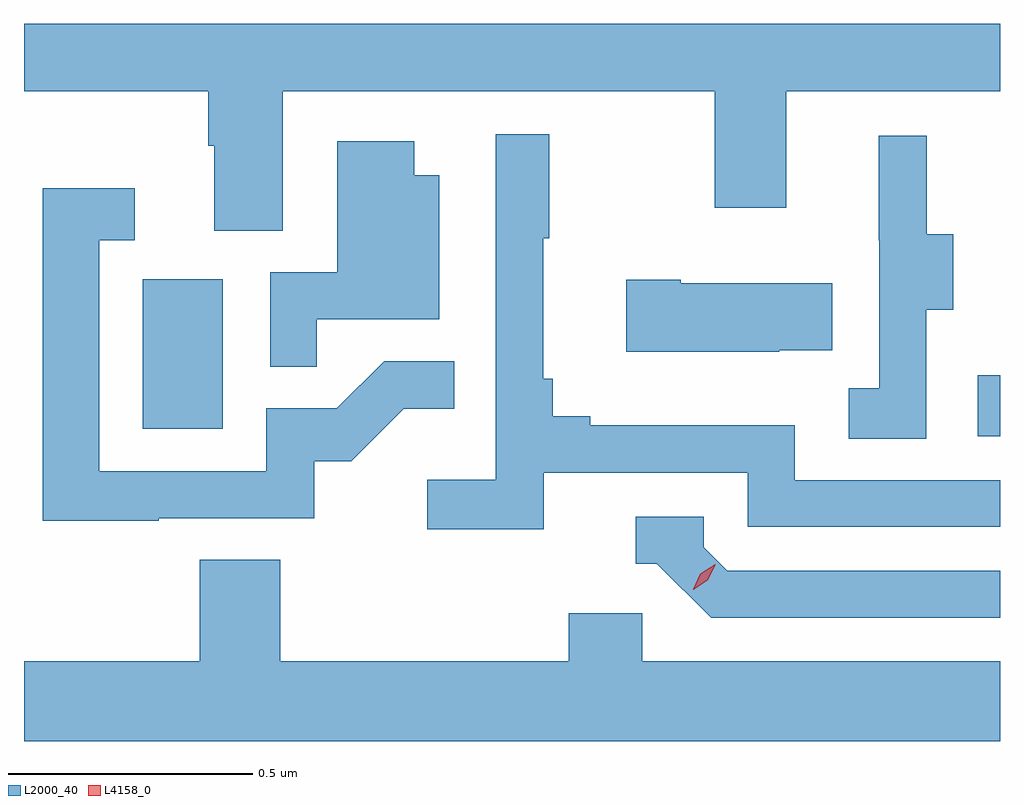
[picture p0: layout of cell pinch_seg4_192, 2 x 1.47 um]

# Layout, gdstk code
import gdstk
lib = gdstk.Library(unit=1e-6, precision=1e-09)
def R(c, l, rs):  # rectangles x0, y0, x1, y1
    for r in rs: c.add(gdstk.rectangle(r[:2], r[2:], *l))
def P(c, l, *ps):  # polygons
    for p in ps: c.add(gdstk.Polygon(p, *l))
L2000_40 = (2000, 40)
L4158_0 = (4158, 0)

pinch_seg4_192 = lib.new_cell('pinch_seg4_192')
R(pinch_seg4_192, L2000_40, [(966.009,826.749,966.055,826.874), (964.298,826.764,964.462,827.071)])
P(pinch_seg4_192, L2000_40, [(964.585,827.456),(965.47,827.456),(965.47,827.217),(965.617,827.217),(965.617,827.456),(966.055,827.456),(966.055,827.594),(964.055,827.594),(964.055,827.456),(964.433,827.456),(964.433,827.344),(964.445,827.344),(964.445,827.17),(964.585,827.17)],
  [(965.12,826.674),(965.538,826.674),(965.538,826.563),(966.055,826.563),(966.055,826.659),(965.634,826.659),(965.634,826.771),(965.215,826.771),(965.215,826.79),(965.138,826.79),(965.138,826.867),(965.119,826.867),(965.119,827.155),(965.131,827.155),(965.131,827.368),(965.022,827.368),(965.022,826.66),(964.881,826.66),(964.881,826.558),(965.12,826.558)],
  [(965.904,827.008),(965.959,827.008),(965.959,827.163),(965.905,827.163),(965.905,827.365),(965.807,827.365),(965.807,827.151),(965.808,827.151),(965.808,826.847),(965.745,826.847),(965.745,826.744),(965.904,826.744)],
  [(964.655,826.989),(964.906,826.989),(964.906,827.284),(964.855,827.284),(964.855,827.353),(964.697,827.353),(964.697,827.085),(964.56,827.085),(964.56,826.891),(964.655,826.891)],
  [(964.331,826.581),(964.65,826.581),(964.65,826.698),(964.726,826.698),(964.833,826.805),(964.937,826.805),(964.937,826.903),(964.793,826.903),(964.696,826.806),(964.551,826.806),(964.551,826.677),(964.209,826.677),(964.209,827.151),(964.282,827.151),(964.282,827.257),(964.093,827.257),(964.093,826.576),(964.331,826.576)],
  [(965.603,826.925),(965.711,826.925),(965.711,827.062),(965.401,827.062),(965.401,827.07),(965.289,827.07),(965.289,826.922),(965.603,826.922)],
  [(966.055,826.473),(965.496,826.473),(965.448,826.521),(965.448,826.584),(965.309,826.584),(965.309,826.488),(965.352,826.488),(965.463,826.377),(966.055,826.377)],
  [(966.055,826.288),(965.322,826.288),(965.322,826.386),(965.171,826.386),(965.171,826.288),(964.58,826.288),(964.58,826.496),(964.415,826.496),(964.415,826.288),(964.055,826.288),(964.055,826.124),(966.055,826.124)])
P(pinch_seg4_192, L4158_0, [(965.426,826.434),(965.426,826.435),(965.441,826.467),(965.472,826.487),(965.472,826.487),(965.472,826.486),(965.456,826.454),(965.426,826.434)])

lib.write_gds('pinch_seg4_192.gds')
